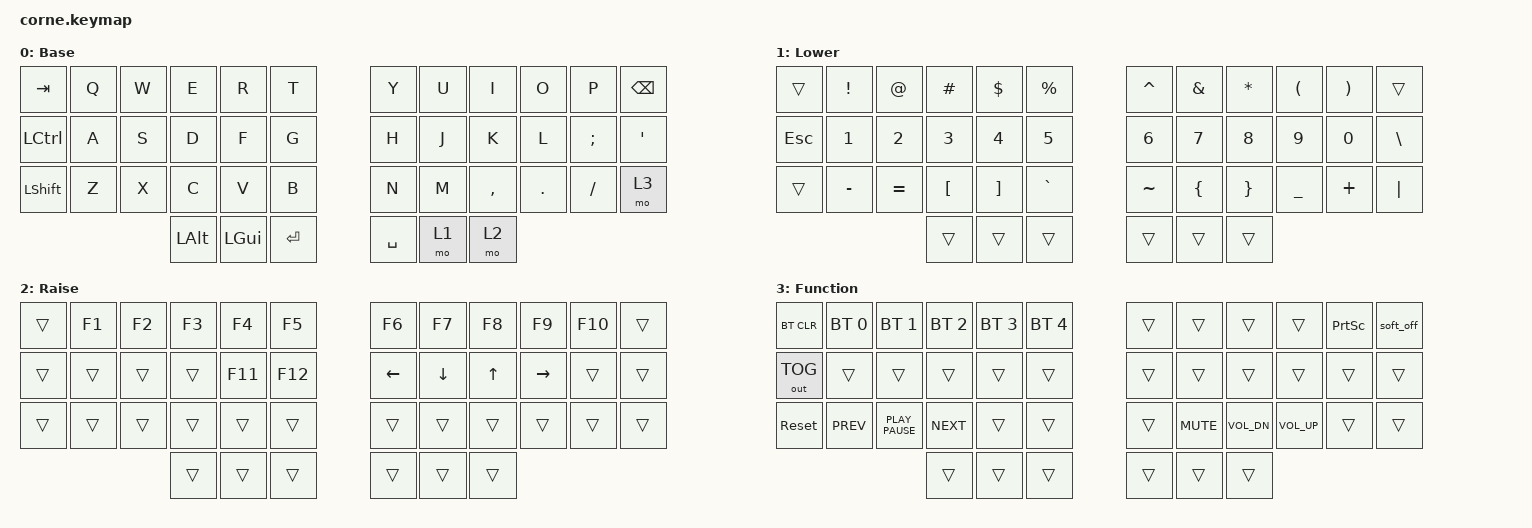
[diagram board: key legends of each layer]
/*
 * Copyright (c) 2020 The ZMK Contributors
 *
 * SPDX-License-Identifier: MIT
 */

#include <behaviors.dtsi>
#include <dt-bindings/zmk/keys.h>
#include <dt-bindings/zmk/bt.h>
#include <dt-bindings/zmk/outputs.h>

/ {
        keymap {
                compatible = "zmk,keymap";

                Base {
                // -----------------------------------------------------------------------------------------
                // | TAB  |  Q  |  W  |  E  |  R  |  T  |   |  Y  |  U   |  I  |  O  |  P  | BKSP |
                // | CTRL |  A  |  S  |  D  |  F  |  G  |   |  H  |  J   |  K  |  L  |  ;  |  '   |
                // | SHFT |  Z  |  X  |  C  |  V  |  B  |   |  N  |  M   |  ,  |  .  |  /  | MO3  |
                //                    | ALT | GUI | ENT |   | SPC | MO1  | MO2 |
                        label = "Base";
                        bindings = <
   &kp TAB      &kp Q               &kp W               &kp E           &kp R         &kp T             &kp Y         &kp U           &kp I             &kp O         &kp P       &kp BSPC
   &kp LCTRL    &kp A               &kp S               &kp D           &kp F         &kp G             &kp H         &kp J           &kp K             &kp L         &kp SEMI    &kp SQT
   &kp LSHFT    &kp Z               &kp X               &kp C           &kp V         &kp B             &kp N         &kp M           &kp COMMA         &kp DOT       &kp FSLH    &mo 3
                                                                          &kp LALT    &kp LGUI    &kp RET   &kp SPACE     &mo 1         &mo 2
                        >;
                };
                Lower {
                // -----------------------------------------------------------------------------------------
                // |      |  !  |  @  |  #  |  $  |  %  |   |  ^  |  &  |  *  |  (  |  )  |      |
                // |      |  1  |  2  |  3  |  4  |  5  |   |  6  |  7  |  8  |  9  |  0  |   \  |
                // |      |  -  |  =  |  [  |  ]  |  `  |   |  ~  |  {  |  }  |  _  |  +  |   |  |
                //                    |     |     |     |   |     |     |     |
                        label = "Lower";
                        bindings = <
   &trans       &kp EXCL            &kp AT              &kp HASH        &kp DLLR     &kp PRCNT          &kp CARET     &kp AMPS        &kp ASTRK         &kp LPAR      &kp RPAR    &trans
   &kp ESC      &kp N1              &kp N2              &kp N3          &kp N4       &kp N5             &kp N6        &kp N7          &kp N8            &kp N9        &kp N0      &kp BSLH
   &trans       &kp MINUS           &kp EQUAL           &kp LBKT        &kp RBKT     &kp GRAVE          &kp TILDE     &kp LBRC        &kp RBRC          &kp UNDER     &kp PLUS    &kp PIPE
                                                                          &trans     &trans       &trans      &trans      &trans        &trans
                        >;
                };

                Raise {
                // -----------------------------------------------------------------------------------------
                // |      |  F1 |  F2 |  F3 |  F4 |  F5 |   |  F6 |  F7 |  F8 |  F9 |  F10|      |
                // |      |     |     |     |  F11|  F12|   | LEFT| DOWN|  UP |RIGHT|     |      |
                // |      |     |     |     |     |     |   |     |     |     |     |     |      |
                //                    |     |     |     |   |     |     |     |
                        label = "Raise";
                        bindings = <
   &trans         &kp F1            &kp F2              &kp F3          &kp F4        &kp F5            &kp F6        &kp F7          &kp F8            &kp F9        &kp F10     &trans
   &trans         &trans            &trans              &trans          &kp F11       &kp F12           &kp LEFT      &kp DOWN        &kp UP            &kp RIGHT     &trans      &trans
   &trans         &trans            &trans              &trans          &trans        &trans            &trans        &trans          &trans            &trans        &trans      &trans
                                                                          &trans   &trans   &trans   &trans   &trans    &trans
                        >;
                };

                 Function {
                // -----------------------------------------------------------------------------------------
                // | BTCLR| BT1 | BT2 | BT3 | BT4 | BT5 |   |     |     |     |     |PRCSR|      | TurnOff
                // | O_TOG|     |     |     |     |     |   |     |     |     |     |     |      |
                // | REST | REV |P/Pau| Next|     |     |   |     |MUTE |V_DO |V_UP |     |      |
                //                    |     |     |     |   |     |     |     |
                        label = "Function";
                        bindings = <
   &bt BT_CLR     &bt BT_SEL 0    &bt BT_SEL 1          &bt BT_SEL 2    &bt BT_SEL 3  &bt BT_SEL 4       &trans       &trans            &trans          &trans        &kp PSCRN   &soft_off
   &out OUT_TOG   &trans          &trans                &trans          &trans        &trans             &trans       &trans            &trans          &trans        &trans      &trans 
   &sys_reset     &kp K_PREV      &kp K_PLAY_PAUSE      &kp K_NEXT      &trans        &trans             &trans       &kp C_MUTE        &kp K_VOL_DN    &kp K_VOL_UP  &trans      &trans
                                                                          &trans   &trans   &trans   &trans      &trans    &trans
                        >;
                };
        };
};
